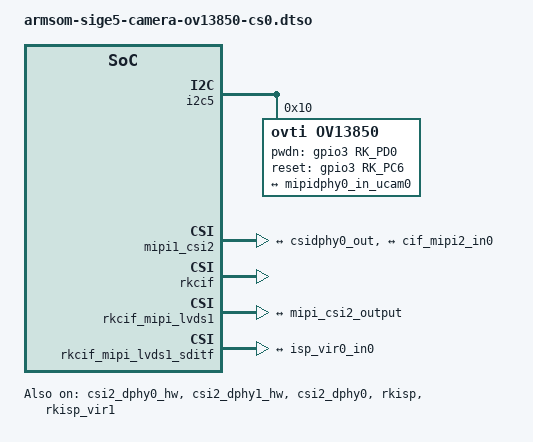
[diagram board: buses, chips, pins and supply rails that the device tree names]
/dts-v1/;
/plugin/;

#include <dt-bindings/clock/rockchip,rk3576-cru.h>
#include <dt-bindings/power/rk3576-power.h>
#include <dt-bindings/gpio/gpio.h>
#include <dt-bindings/pinctrl/rockchip.h>

/ {
    fragment@0 {
        target = <&i2c5>;
        __overlay__ {
            status = "okay";
            pinctrl-names = "default";
            pinctrl-0 = <&i2c5m3_xfer>;
            ov13850: ov13850@10 {
                status = "okay";
                compatible = "ovti,ov13850";
                reg = <0x10>;
                clocks = <&cru CLK_MIPI_CAMERAOUT_M1>;
                clock-names = "xvclk";
                pinctrl-names = "default";
                pinctrl-0 = <&cam_clk1m0_clk1>;
                pwdn-gpios = <&gpio3 RK_PD0 GPIO_ACTIVE_HIGH>;
                reset-gpios = <&gpio3 RK_PC6 GPIO_ACTIVE_HIGH>;
                rockchip,camera-module-index = <0>;
                rockchip,camera-module-facing = "back";
                rockchip,camera-module-name = "ZC-OV13850R2A-V1";
                rockchip,camera-module-lens-name = "Largan-50064B31";
                port {
                    ov13850_out0: endpoint {
                        remote-endpoint = <&mipidphy0_in_ucam0>;
                        data-lanes = <1 2 3 4>;
                    };
                };
            };
        };
    };

    fragment@1 {
        target = <&csi2_dphy0_hw>;
        __overlay__ {
            status = "okay";
        };
    };

    fragment@2 {
        target = <&csi2_dphy1_hw>;
        __overlay__ {
            status = "okay";
        };
    };

    fragment@3 {
        target = <&csi2_dphy0>;
        __overlay__ {
            status = "okay";
            ports {
                #address-cells = <1>;
                #size-cells = <0>;

                port@0 {
                    reg = <0>;
                    #address-cells = <1>;
                    #size-cells = <0>;

                    mipidphy0_in_ucam0: endpoint@1 {
                        reg = <1>;
                        remote-endpoint = <&ov13850_out0>;
                        data-lanes = <1 2 3 4>;
                    };
                };

                port@1 {
                    reg = <1>;
                    #address-cells = <1>;
                    #size-cells = <0>;

                    csidphy0_out: endpoint@0 {
                        reg = <0>;
                        remote-endpoint = <&mipi2_csi2_input>;
                    };
                };
            };
        };
    };

    fragment@4 {
        target = <&mipi1_csi2>;
        __overlay__ {
            status = "okay";
            ports {
                #address-cells = <1>;
                #size-cells = <0>;

                port@0 {
                    reg = <0>;
                    #address-cells = <1>;
                    #size-cells = <0>;

                    mipi2_csi2_input: endpoint@1 {
                        reg = <1>;
                        remote-endpoint = <&csidphy0_out>;
                    };
                };

                port@1 {
                    reg = <1>;
                    #address-cells = <1>;
                    #size-cells = <0>;

                    mipi_csi2_output: endpoint@0 {
                        reg = <0>;
                        remote-endpoint = <&cif_mipi2_in0>;
                    };
                };
            };
        };
    };

    fragment@5 {
        target = <&rkcif>;
        __overlay__ {
            status = "okay";
        };
    };

    fragment@6 {
        target = <&rkcif_mipi_lvds1>;
        __overlay__ {
            status = "okay";
            port {
                cif_mipi2_in0: endpoint {
                    remote-endpoint = <&mipi_csi2_output>;
                };
            };
        };
    };

    fragment@7 {
        target = <&rkcif_mipi_lvds1_sditf>;
        __overlay__ {
            status = "okay";
            port {
                mipi_lvds1_sditf: endpoint {
                    remote-endpoint = <&isp_vir0_in0>;
                };
            };
        };
    };

    fragment@8 {
        target = <&rkcif_mmu>;
        __overlay__ {
            status = "okay";
        };
    };

    fragment@9 {
        target = <&rkisp>;
        __overlay__ {
            status = "okay";
        };
    };

    fragment@10 {
        target = <&rkisp_mmu>;
        __overlay__ {
            status = "okay";
        };
    };

    fragment@11 {
        target = <&rkisp_vir1>;
        __overlay__ {
            status = "okay";
            port {
                #address-cells = <1>;
                #size-cells = <0>;

                isp_vir0_in0: endpoint@0 {
                    reg = <0>;
                    remote-endpoint = <&mipi_lvds1_sditf>;
                };
            };
        };
    };
};
